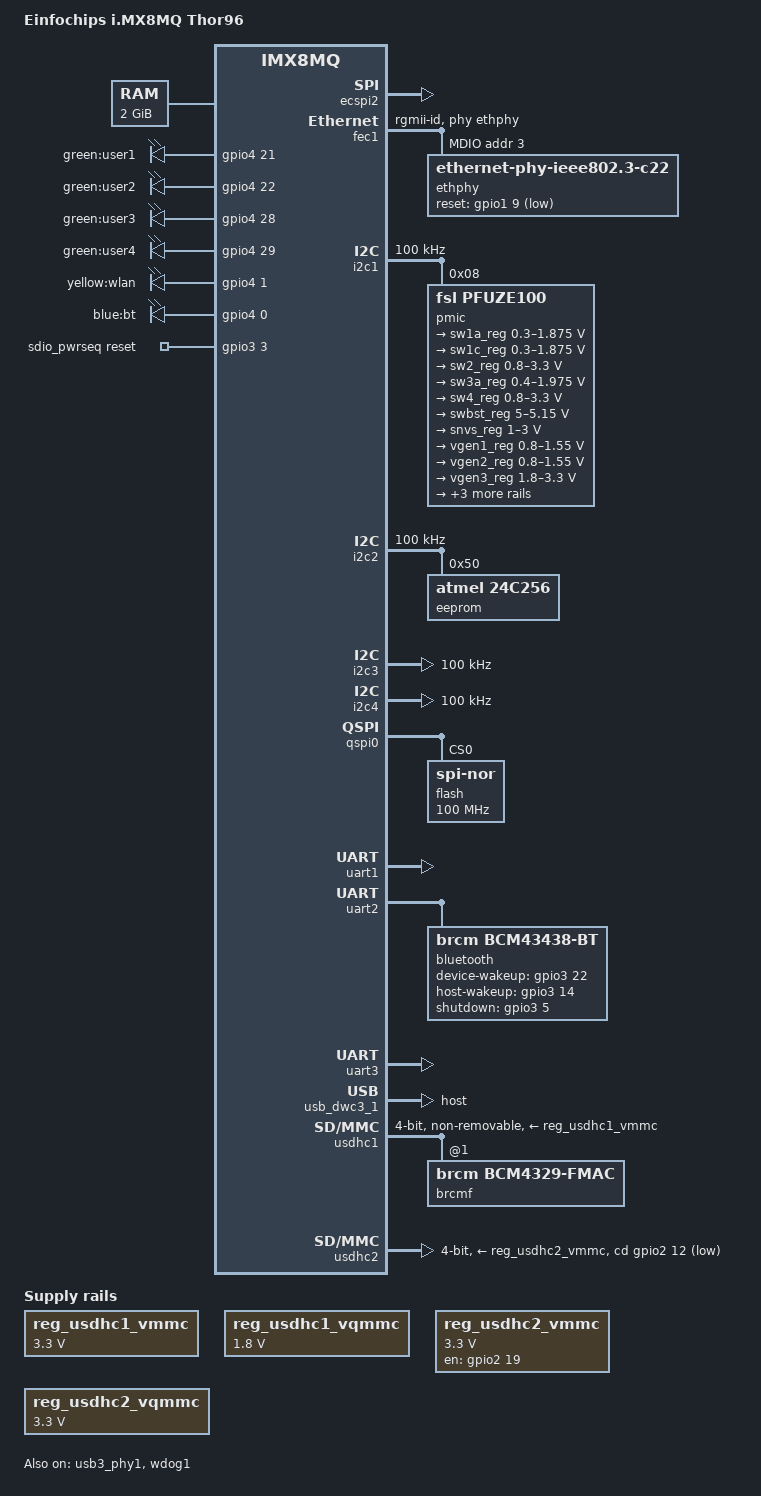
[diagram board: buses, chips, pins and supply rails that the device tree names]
// SPDX-License-Identifier: GPL-2.0+
/*
 * Copyright 2019 Einfochips
 * Copyright 2019 Linaro Ltd.
 */

/dts-v1/;

#include "imx8mq.dtsi"

/ {
	model = "Einfochips i.MX8MQ Thor96";
	compatible = "einfochips,imx8mq-thor96", "fsl,imx8mq";

	chosen {
		stdout-path = &uart1;
	};

	memory@40000000 {
		device_type = "memory";
		reg = <0x00000000 0x40000000 0 0x80000000>;
	};

	leds {
		compatible = "gpio-leds";
		pinctrl-names = "default";
		pinctrl-0 = <&pinctrl_leds>;

		user-led1 {
			label = "green:user1";
			gpios = <&gpio4 21 GPIO_ACTIVE_HIGH>;
			linux,default-trigger = "heartbeat";
		};

		user-led2 {
			label = "green:user2";
			gpios = <&gpio4 22 GPIO_ACTIVE_HIGH>;
			linux,default-trigger = "none";
		};

		user-led3 {
			label = "green:user3";
			gpios = <&gpio4 28 GPIO_ACTIVE_HIGH>;
			linux,default-trigger = "mmc1";
			default-state = "off";
		};

		user-led4 {
			label = "green:user4";
			gpios = <&gpio4 29 GPIO_ACTIVE_HIGH>;
			panic-indicator;
			linux,default-trigger = "none";
		};

		wlan-active-led {
			label = "yellow:wlan";
			gpios = <&gpio4 1 GPIO_ACTIVE_HIGH>;
			linux,default-trigger = "phy0tx";
			default-state = "off";
		};

		bt-active-led {
			label = "blue:bt";
			gpios = <&gpio4 0 GPIO_ACTIVE_HIGH>;
			linux,default-trigger = "hci0-power";
			default-state = "off";
		};
	};

	reg_usdhc1_vmmc: reg-usdhc1-vmmc {
		compatible = "regulator-fixed";
		regulator-name = "VDD_3V3";
		regulator-min-microvolt = <3300000>;
		regulator-max-microvolt = <3300000>;
		regulator-always-on;
	};

	reg_usdhc1_vqmmc: reg-usdhc1-vqmmc {
		compatible = "regulator-fixed";
		regulator-name = "VCC_1V8_EXT";
		regulator-min-microvolt = <1800000>;
		regulator-max-microvolt = <1800000>;
		regulator-always-on;
	};

	reg_usdhc2_vmmc: reg-usdhc2-vmmc {
		compatible = "regulator-fixed";
		regulator-name = "VSD_3V3";
		regulator-min-microvolt = <3300000>;
		regulator-max-microvolt = <3300000>;
		regulator-always-on;
		pinctrl-names = "default";
		pinctrl-0 = <&pinctrl_reg_usdhc2>;
		gpio = <&gpio2 19 GPIO_ACTIVE_HIGH>;
		enable-active-high;
	};

	reg_usdhc2_vqmmc: reg-usdhc2-vqmmc {
		compatible = "regulator-fixed";
		regulator-name = "NVCC_SD2";
		regulator-min-microvolt = <3300000>;
		regulator-max-microvolt = <3300000>;
		regulator-always-on;
	};

	sdio_pwrseq: sdio-pwrseq {
		compatible = "mmc-pwrseq-simple";
		pinctrl-names = "default";
		pinctrl-0 = <&pinctrl_wifi_reg_on>;
		reset-gpios = <&gpio3 3 GPIO_ACTIVE_HIGH>;
	};
};

/* LS-SPI0 */
&ecspi2 {
	pinctrl-names = "default";
	pinctrl-0 = <&pinctrl_ecspi2>;
	status = "okay";
};

&fec1 {
	pinctrl-names = "default";
	pinctrl-0 = <&pinctrl_fec1>;
	phy-mode = "rgmii-id";
	phy-handle = <&ethphy>;
	fsl,magic-packet;
	status = "okay";

	mdio {
		#address-cells = <1>;
		#size-cells = <0>;

		ethphy: ethernet-phy@3 {
			compatible = "ethernet-phy-ieee802.3-c22";
			reg = <3>;
			reset-gpios = <&gpio1 9 GPIO_ACTIVE_LOW>;
		};
	};
};

/* LS-I2C0 */
&i2c1 {
	clock-frequency = <100000>;
	pinctrl-names = "default";
	pinctrl-0 = <&pinctrl_i2c1>;
	status = "okay";

	pmic@8 {
		compatible = "fsl,pfuze100";
		reg = <0x8>;

		regulators {
			sw1a_reg: sw1ab {
				regulator-min-microvolt = <300000>;
				regulator-max-microvolt = <1875000>;
			};

			sw1c_reg: sw1c {
				regulator-min-microvolt = <300000>;
				regulator-max-microvolt = <1875000>;
			};

			sw2_reg: sw2 {
				regulator-min-microvolt = <800000>;
				regulator-max-microvolt = <3300000>;
				regulator-always-on;
			};

			sw3a_reg: sw3ab {
				regulator-min-microvolt = <400000>;
				regulator-max-microvolt = <1975000>;
				regulator-always-on;
			};

			sw4_reg: sw4 {
				regulator-min-microvolt = <800000>;
				regulator-max-microvolt = <3300000>;
				regulator-always-on;
			};

			swbst_reg: swbst {
				regulator-min-microvolt = <5000000>;
				regulator-max-microvolt = <5150000>;
			};

			snvs_reg: vsnvs {
				regulator-min-microvolt = <1000000>;
				regulator-max-microvolt = <3000000>;
				regulator-always-on;
			};

			vref_reg: vrefddr {
				regulator-always-on;
			};

			vgen1_reg: vgen1 {
				regulator-min-microvolt = <800000>;
				regulator-max-microvolt = <1550000>;
			};

			vgen2_reg: vgen2 {
				regulator-min-microvolt = <800000>;
				regulator-max-microvolt = <1550000>;
				regulator-always-on;
			};

			vgen3_reg: vgen3 {
				regulator-min-microvolt = <1800000>;
				regulator-max-microvolt = <3300000>;
				regulator-always-on;
			};

			vgen4_reg: vgen4 {
				regulator-min-microvolt = <1800000>;
				regulator-max-microvolt = <3300000>;
				regulator-always-on;
			};

			vgen5_reg: vgen5 {
				regulator-min-microvolt = <1800000>;
				regulator-max-microvolt = <3300000>;
				regulator-always-on;
			};

			vgen6_reg: vgen6 {
				regulator-min-microvolt = <1800000>;
				regulator-max-microvolt = <3300000>;
			};
		};
	};
};

/* LS-I2C1 */
&i2c2 {
	clock-frequency = <100000>;
	pinctrl-names = "default";
	pinctrl-0 = <&pinctrl_i2c2>;
	status = "okay";

	eeprom: eeprom@50 {
		compatible = "atmel,24c256";
		reg = <0x50>;
	};
};

/* HS-I2C2 */
&i2c3 {
	clock-frequency = <100000>;
	pinctrl-names = "default";
	pinctrl-0 = <&pinctrl_i2c3>;
	status = "okay";
};

/* HS-I2C3 */
&i2c4 {
	clock-frequency = <100000>;
	pinctrl-names = "default";
	pinctrl-0 = <&pinctrl_i2c4>;
	status = "okay";
};

&pgc_gpu {
	power-supply = <&sw1a_reg>;
};

&pgc_vpu {
	power-supply = <&sw1c_reg>;
};

&qspi0 {
	pinctrl-names = "default";
	pinctrl-0 = <&pinctrl_qspi0>;
	status = "okay";

	flash@0 {
		compatible = "jedec,spi-nor";
		spi-max-frequency = <100000000>;
		reg = <0>;
	};
};

/* Debug UART */
&uart1 {
	pinctrl-names = "default";
	pinctrl-0 = <&pinctrl_uart1>;
	assigned-clocks = <&clk IMX8MQ_CLK_UART1>;
	assigned-clock-parents = <&clk IMX8MQ_CLK_25M>;
	status = "okay";
};

/* LS-UART0 */
&uart2 {
	pinctrl-names = "default";
	pinctrl-0 = <&pinctrl_uart2>;
	assigned-clocks = <&clk IMX8MQ_CLK_UART2>;
	assigned-clock-parents = <&clk IMX8MQ_SYS1_PLL_80M>;
	uart-has-rtscts;
	status = "okay";

	bluetooth {
		compatible = "brcm,bcm43438-bt";
		device-wakeup-gpios = <&gpio3 22 GPIO_ACTIVE_HIGH>;
		host-wakeup-gpios = <&gpio3 14 GPIO_ACTIVE_HIGH>;
		shutdown-gpios = <&gpio3 5 GPIO_ACTIVE_HIGH>;
		pinctrl-names = "default";
		pinctrl-0 = <&pinctrl_bt_gpios>;
	};
};

/* LS-UART1 */
&uart3 {
	pinctrl-names = "default";
	pinctrl-0 = <&pinctrl_uart3>;
	assigned-clocks = <&clk IMX8MQ_CLK_UART3>;
	assigned-clock-parents = <&clk IMX8MQ_SYS1_PLL_80M>;
	status = "okay";
};

&usb3_phy1 {
	status = "okay";
};

&usb_dwc3_1 {
	dr_mode = "host";
	status = "okay";
};

/* SDIO */
&usdhc1 {
	#address-cells = <0x1>;
	#size-cells = <0x0>;
	pinctrl-names = "default", "state_100mhz", "state_200mhz";
	pinctrl-0 = <&pinctrl_usdhc1>;
	pinctrl-1 = <&pinctrl_usdhc1_100mhz>;
	pinctrl-2 = <&pinctrl_usdhc1_200mhz>;
	vmmc-supply = <&reg_usdhc1_vmmc>;
	vqmmc-supply = <&reg_usdhc1_vqmmc>;
	mmc-pwrseq = <&sdio_pwrseq>;
	bus-width = <4>;
	non-removable;
	no-sd;
	no-mmc;
	status = "okay";

	brcmf: wifi@1 {
		reg = <1>;
		compatible = "brcm,bcm4329-fmac";
	};
};

/* uSD */
&usdhc2 {
	pinctrl-names = "default", "state_100mhz", "state_200mhz";
	pinctrl-0 = <&pinctrl_usdhc2>, <&pinctrl_usdhc2_gpio>;
	pinctrl-1 = <&pinctrl_usdhc2_100mhz>, <&pinctrl_usdhc2_gpio>;
	pinctrl-2 = <&pinctrl_usdhc2_200mhz>, <&pinctrl_usdhc2_gpio>;
	vmmc-supply = <&reg_usdhc2_vmmc>;
	vqmmc-supply = <&reg_usdhc2_vqmmc>;
	cd-gpios = <&gpio2 12 GPIO_ACTIVE_LOW>;
	bus-width = <4>;
	no-sdio;
	no-mmc;
	disable-wp;
	status = "okay";
};

&wdog1 {
	pinctrl-names = "default";
	pinctrl-0 = <&pinctrl_wdog>;
	fsl,ext-reset-output;
	status = "okay";
};

&iomuxc {
	pinctrl_bt_gpios: btgpiosgrp {
		fsl,pins = <
			MX8MQ_IOMUXC_SAI5_RXD1_GPIO3_IO22		0x19
			MX8MQ_IOMUXC_NAND_DQS_GPIO3_IO14		0x19
			MX8MQ_IOMUXC_NAND_CLE_GPIO3_IO5			0x19
		>;
	};

	pinctrl_ecspi2: ecspi2grp {
		fsl,pins = <
			MX8MQ_IOMUXC_ECSPI2_SCLK_ECSPI2_SCLK		0x16
			MX8MQ_IOMUXC_ECSPI2_MOSI_ECSPI2_MOSI		0x16
			MX8MQ_IOMUXC_ECSPI2_MISO_ECSPI2_MISO		0x16
			MX8MQ_IOMUXC_ECSPI2_SS0_ECSPI2_SS0		0x16
		>;
	};

	pinctrl_fec1: fec1grp {
		fsl,pins = <
			MX8MQ_IOMUXC_ENET_MDC_ENET1_MDC			0x4
			MX8MQ_IOMUXC_ENET_MDIO_ENET1_MDIO		0x24
			MX8MQ_IOMUXC_ENET_TD3_ENET1_RGMII_TD3		0x1c
			MX8MQ_IOMUXC_ENET_TD2_ENET1_RGMII_TD2		0x1c
			MX8MQ_IOMUXC_ENET_TD1_ENET1_RGMII_TD1		0x1c
			MX8MQ_IOMUXC_ENET_TD0_ENET1_RGMII_TD0		0x1c
			MX8MQ_IOMUXC_ENET_RD3_ENET1_RGMII_RD3		0x91
			MX8MQ_IOMUXC_ENET_RD2_ENET1_RGMII_RD2		0x91
			MX8MQ_IOMUXC_ENET_RD1_ENET1_RGMII_RD1		0x91
			MX8MQ_IOMUXC_ENET_RD0_ENET1_RGMII_RD0		0x91
			MX8MQ_IOMUXC_ENET_TXC_ENET1_RGMII_TXC		0x1c
			MX8MQ_IOMUXC_ENET_RXC_ENET1_RGMII_RXC		0x91
			MX8MQ_IOMUXC_ENET_RX_CTL_ENET1_RGMII_RX_CTL	0x91
			MX8MQ_IOMUXC_ENET_TX_CTL_ENET1_RGMII_TX_CTL	0x1c
			MX8MQ_IOMUXC_GPIO1_IO09_GPIO1_IO9		0x19
		>;
	};

	pinctrl_i2c1: i2c1grp {
		fsl,pins = <
			MX8MQ_IOMUXC_I2C1_SCL_I2C1_SCL			0x4000007f
			MX8MQ_IOMUXC_I2C1_SDA_I2C1_SDA			0x4000007f
		>;
	};

	pinctrl_i2c2: i2c2grp {
		fsl,pins = <
			MX8MQ_IOMUXC_I2C2_SCL_I2C2_SCL			0x4000007f
			MX8MQ_IOMUXC_I2C2_SDA_I2C2_SDA			0x4000007f
		>;
	};

	pinctrl_i2c3: i2c3grp {
		fsl,pins = <
			MX8MQ_IOMUXC_I2C3_SCL_I2C3_SCL			0x4000007f
			MX8MQ_IOMUXC_I2C3_SDA_I2C3_SDA			0x4000007f
		>;
	};

	pinctrl_i2c4: i2c4grp {
		fsl,pins = <
			MX8MQ_IOMUXC_I2C4_SCL_I2C4_SCL			0x4000007f
			MX8MQ_IOMUXC_I2C4_SDA_I2C4_SDA			0x4000007f
		>;
	};

	pinctrl_leds: ledsgrp {
		fsl,pins = <
			MX8MQ_IOMUXC_SAI2_RXFS_GPIO4_IO21		0x19
			MX8MQ_IOMUXC_SAI2_RXC_GPIO4_IO22		0x19
			MX8MQ_IOMUXC_SAI3_RXFS_GPIO4_IO28		0x19
			MX8MQ_IOMUXC_SAI3_RXC_GPIO4_IO29		0x19
			MX8MQ_IOMUXC_SAI1_RXC_GPIO4_IO1			0x19
			MX8MQ_IOMUXC_SAI1_RXFS_GPIO4_IO0		0x19
		>;
	};

	pinctrl_qspi0: qspi0grp {
		fsl,pins = <
			MX8MQ_IOMUXC_NAND_ALE_QSPI_A_SCLK		0x82
			MX8MQ_IOMUXC_NAND_CE0_B_QSPI_A_SS0_B		0x82
			MX8MQ_IOMUXC_NAND_DATA00_QSPI_A_DATA0		0x82
			MX8MQ_IOMUXC_NAND_DATA01_QSPI_A_DATA1		0x82
			MX8MQ_IOMUXC_NAND_DATA02_QSPI_A_DATA2		0x82
			MX8MQ_IOMUXC_NAND_DATA03_QSPI_A_DATA3		0x82

		>;
	};

	pinctrl_reg_usdhc2: regusdhc2grp {
		fsl,pins = <
			MX8MQ_IOMUXC_SD2_RESET_B_GPIO2_IO19		0x41
		>;
	};

	pinctrl_uart1: uart1grp {
		fsl,pins = <
			MX8MQ_IOMUXC_UART1_RXD_UART1_DCE_RX		0x49
			MX8MQ_IOMUXC_UART1_TXD_UART1_DCE_TX		0x49
		>;
	};

	pinctrl_uart2: uart2grp {
		fsl,pins = <
			MX8MQ_IOMUXC_UART2_RXD_UART2_DCE_RX		0x49
			MX8MQ_IOMUXC_UART2_TXD_UART2_DCE_TX		0x49
			MX8MQ_IOMUXC_UART4_RXD_UART2_DCE_CTS_B		0x49
			MX8MQ_IOMUXC_UART4_TXD_UART2_DCE_RTS_B		0x49
		>;
	};

	pinctrl_uart3: uart3grp {
		fsl,pins = <
			MX8MQ_IOMUXC_UART3_TXD_UART3_DCE_TX		0x49
			MX8MQ_IOMUXC_UART3_RXD_UART3_DCE_RX		0x49
		>;
	};

	pinctrl_usdhc1: usdhc1grp {
		fsl,pins = <
			MX8MQ_IOMUXC_SD1_CLK_USDHC1_CLK			0x83
			MX8MQ_IOMUXC_SD1_CMD_USDHC1_CMD			0xc3
			MX8MQ_IOMUXC_SD1_DATA0_USDHC1_DATA0		0xc3
			MX8MQ_IOMUXC_SD1_DATA1_USDHC1_DATA1		0xc3
			MX8MQ_IOMUXC_SD1_DATA2_USDHC1_DATA2		0xc3
			MX8MQ_IOMUXC_SD1_DATA3_USDHC1_DATA3		0xc3
			MX8MQ_IOMUXC_GPIO1_IO00_ANAMIX_REF_CLK_32K	0x85
		>;
	};

	pinctrl_usdhc1_100mhz: usdhc1-100mhzgrp {
		fsl,pins = <
			MX8MQ_IOMUXC_SD1_CLK_USDHC1_CLK			0x8d
			MX8MQ_IOMUXC_SD1_CMD_USDHC1_CMD			0xcd
			MX8MQ_IOMUXC_SD1_DATA0_USDHC1_DATA0		0xcd
			MX8MQ_IOMUXC_SD1_DATA1_USDHC1_DATA1		0xcd
			MX8MQ_IOMUXC_SD1_DATA2_USDHC1_DATA2		0xcd
			MX8MQ_IOMUXC_SD1_DATA3_USDHC1_DATA3		0xcd
			MX8MQ_IOMUXC_GPIO1_IO00_ANAMIX_REF_CLK_32K	0x85
		>;
	};

	pinctrl_usdhc1_200mhz: usdhc1-200mhzgrp {
		fsl,pins = <
			MX8MQ_IOMUXC_SD1_CLK_USDHC1_CLK			0x9f
			MX8MQ_IOMUXC_SD1_CMD_USDHC1_CMD			0xdf
			MX8MQ_IOMUXC_SD1_DATA0_USDHC1_DATA0		0xdf
			MX8MQ_IOMUXC_SD1_DATA1_USDHC1_DATA1		0xdf
			MX8MQ_IOMUXC_SD1_DATA2_USDHC1_DATA2		0xdf
			MX8MQ_IOMUXC_SD1_DATA3_USDHC1_DATA3		0xdf
			MX8MQ_IOMUXC_GPIO1_IO00_ANAMIX_REF_CLK_32K	0x85
		>;
	};

	pinctrl_usdhc2_gpio: usdhc2gpiogrp {
		fsl,pins = <
			MX8MQ_IOMUXC_SD2_CD_B_GPIO2_IO12		0x41
		>;
	};

	pinctrl_usdhc2: usdhc2grp {
		fsl,pins = <
			MX8MQ_IOMUXC_SD2_CLK_USDHC2_CLK			0x83
			MX8MQ_IOMUXC_SD2_CMD_USDHC2_CMD			0xc3
			MX8MQ_IOMUXC_SD2_DATA0_USDHC2_DATA0		0xc3
			MX8MQ_IOMUXC_SD2_DATA1_USDHC2_DATA1		0xc3
			MX8MQ_IOMUXC_SD2_DATA2_USDHC2_DATA2		0xc3
			MX8MQ_IOMUXC_SD2_DATA3_USDHC2_DATA3		0xc3
			MX8MQ_IOMUXC_GPIO1_IO04_USDHC2_VSELECT		0xc1
		>;
	};

	pinctrl_usdhc2_100mhz: usdhc2-100mhzgrp {
		fsl,pins = <
			MX8MQ_IOMUXC_SD2_CLK_USDHC2_CLK			0x8c
			MX8MQ_IOMUXC_SD2_CMD_USDHC2_CMD			0xcc
			MX8MQ_IOMUXC_SD2_DATA0_USDHC2_DATA0		0xcc
			MX8MQ_IOMUXC_SD2_DATA1_USDHC2_DATA1		0xcc
			MX8MQ_IOMUXC_SD2_DATA2_USDHC2_DATA2		0xcc
			MX8MQ_IOMUXC_SD2_DATA3_USDHC2_DATA3		0xcc
			MX8MQ_IOMUXC_GPIO1_IO04_USDHC2_VSELECT		0xc1
		>;
	};

	pinctrl_usdhc2_200mhz: usdhc2-200mhzgrp {
		fsl,pins = <
			MX8MQ_IOMUXC_SD2_CLK_USDHC2_CLK			0x9c
			MX8MQ_IOMUXC_SD2_CMD_USDHC2_CMD			0xdc
			MX8MQ_IOMUXC_SD2_DATA0_USDHC2_DATA0		0xdc
			MX8MQ_IOMUXC_SD2_DATA1_USDHC2_DATA1		0xdc
			MX8MQ_IOMUXC_SD2_DATA2_USDHC2_DATA2		0xdc
			MX8MQ_IOMUXC_SD2_DATA3_USDHC2_DATA3		0xdc
			MX8MQ_IOMUXC_GPIO1_IO04_USDHC2_VSELECT		0xcc
		>;
	};

	pinctrl_wdog: wdoggrp {
		fsl,pins = <
			MX8MQ_IOMUXC_GPIO1_IO02_WDOG1_WDOG_B		0xc6
		>;
	};

	pinctrl_wifi_reg_on: wifiregongrp {
		fsl,pins = <
			MX8MQ_IOMUXC_NAND_CE2_B_GPIO3_IO3		0x17059
		>;
	};
};
